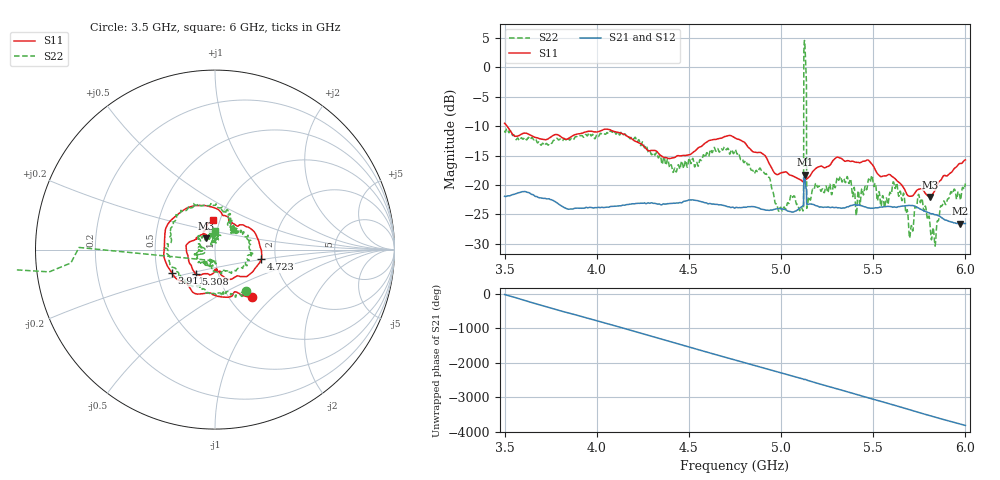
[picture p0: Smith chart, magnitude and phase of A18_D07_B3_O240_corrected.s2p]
! Created with skrf 1.9.0 (http://scikit-rf.org).
# Hz S RI R 50.0
!freq ReS11 ImS11 ReS21 ImS21 ReS12 ImS12 ReS22 ImS22
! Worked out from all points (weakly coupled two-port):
!   1601 points, 3.5 GHz to 6 GHz, reference 50 ohm
!   highest |S21| = -18.25 dB at 5.128 GHz (marker M1); lowest = -26.6 dB at 5.973 GHz (marker M2)
!   lowest |S11| = -22.0 dB at 5.808 GHz (marker M3), VSWR 1.17, Z = 45.1 + j5.69 ohm
!   |S11| at or under -10 dB: 3.514 GHz to end of sweep
!   |S22| runs from -30.4 to 4.6 dB; largest |S21 - S12| = 0.00099
!   S11 on the Smith chart (normalised r, x): 3.5 GHz: 1.26, -0.76; 3.911 GHz: 0.59, -0.17; 4.723 GHz: 1.69, -0.19; 5.308 GHz: 0.78, -0.22; 6 GHz: 0.93, +0.31
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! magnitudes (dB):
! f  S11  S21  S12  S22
! 3.5 GHz  -9.5  -21.9  -21.9  -10.8
! 3.911 GHz  -11.3  -23.9  -23.9  -11.6
! 3.917 GHz  -11.2  -24.0  -23.9  -11.6
! 4.334 GHz  -14.6  -23.2  -23.2  -15.4
! 4.423 GHz  -15.3  -23.1  -23.1  -17.1
! 4.723 GHz  -11.6  -23.8  -23.7  -14.7
! 4.75 GHz  -12.0  -23.9  -23.8  -14.0
! 4.928 GHz  -15.9  -24.3  -24.3  -18.6
! 4.994 GHz  -18.0  -24.0  -24.0  -23.9
! 5.109 GHz  -19.2  -23.7  -23.7  -23.7
! 5.128 GHz  -19.2  -18.2  -18.3  4.5
! 5.136 GHz  -19.0  -20.6  -20.6  -1.9
! 5.152 GHz  -18.7  -23.2  -23.2  -22.0
! 5.167 GHz  -17.9  -23.3  -23.2  -21.2
! 5.308 GHz  -15.3  -23.9  -23.8  -18.8
! 5.584 GHz  -18.2  -23.7  -23.6  -22.4
! 5.62 GHz  -19.0  -23.8  -23.8  -20.5
! 5.705 GHz  -21.9  -23.5  -23.5  -27.2
! 5.755 GHz  -20.7  -24.1  -24.0  -23.0
! 5.808 GHz  -22.0  -24.8  -24.8  -26.6
! 5.973 GHz  -16.3  -26.6  -26.5  -22.6
! 6 GHz  -15.7  -26.6  -26.5  -19.7
